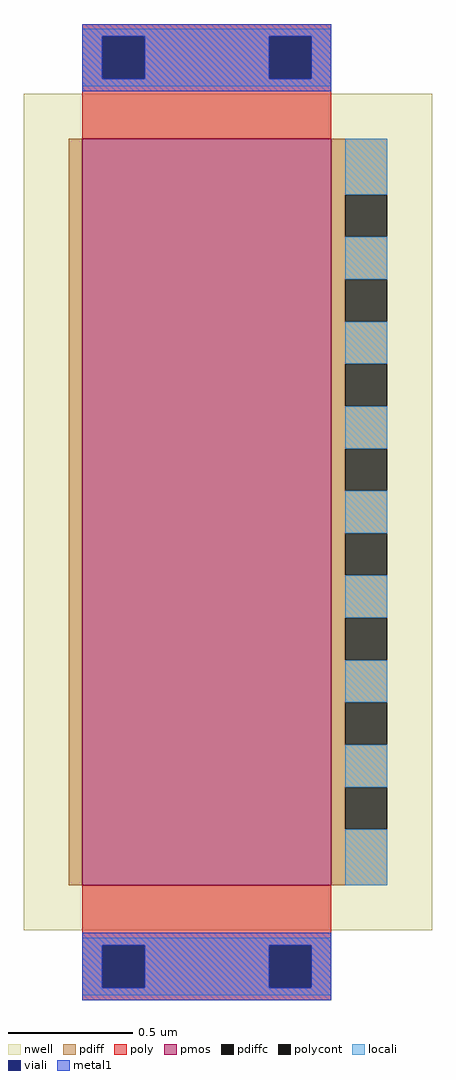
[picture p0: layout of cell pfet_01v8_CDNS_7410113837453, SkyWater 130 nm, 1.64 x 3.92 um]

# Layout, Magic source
magic
tech sky130A
magscale 1 2
<< nwell >>
rect -47 -36 281 636
<< pmos >>
rect 0 0 200 600
<< pdiff >>
rect -11 0 0 600
rect 200 555 245 600
rect 200 521 211 555
rect 200 487 245 521
rect 200 453 211 487
rect 200 419 245 453
rect 200 385 211 419
rect 200 351 245 385
rect 200 317 211 351
rect 200 283 245 317
rect 200 249 211 283
rect 200 215 245 249
rect 200 181 211 215
rect 200 147 245 181
rect 200 113 211 147
rect 200 79 245 113
rect 200 45 211 79
rect 200 0 245 45
<< pdiffc >>
rect 211 521 245 555
rect 211 453 245 487
rect 211 385 245 419
rect 211 317 245 351
rect 211 249 245 283
rect 211 181 245 215
rect 211 113 245 147
rect 211 45 245 79
<< poly >>
rect 0 682 200 692
rect 0 648 16 682
rect 50 648 150 682
rect 184 648 200 682
rect 0 600 200 648
rect 0 -48 200 0
rect 0 -82 16 -48
rect 50 -82 150 -48
rect 184 -82 200 -48
rect 0 -92 200 -82
<< polycont >>
rect 16 648 50 682
rect 150 648 184 682
rect 16 -82 50 -48
rect 150 -82 184 -48
<< locali >>
rect 0 682 200 688
rect 0 648 16 682
rect 50 648 150 682
rect 184 648 200 682
rect 0 642 200 648
rect 211 555 245 600
rect 211 487 245 521
rect 211 419 245 453
rect 211 351 245 385
rect 211 283 245 317
rect 211 215 245 249
rect 211 147 245 181
rect 211 79 245 113
rect 211 0 245 45
rect 0 -48 200 -42
rect 0 -82 16 -48
rect 50 -82 150 -48
rect 184 -82 200 -48
rect 0 -88 200 -82
<< viali >>
rect 16 648 50 682
rect 150 648 184 682
rect 16 -82 50 -48
rect 150 -82 184 -48
<< metal1 >>
rect 0 682 200 692
rect 0 648 16 682
rect 50 648 150 682
rect 184 648 200 682
rect 0 638 200 648
rect 0 -48 200 -38
rect 0 -82 16 -48
rect 50 -82 150 -48
rect 184 -82 200 -48
rect 0 -92 200 -82
<< end >>
